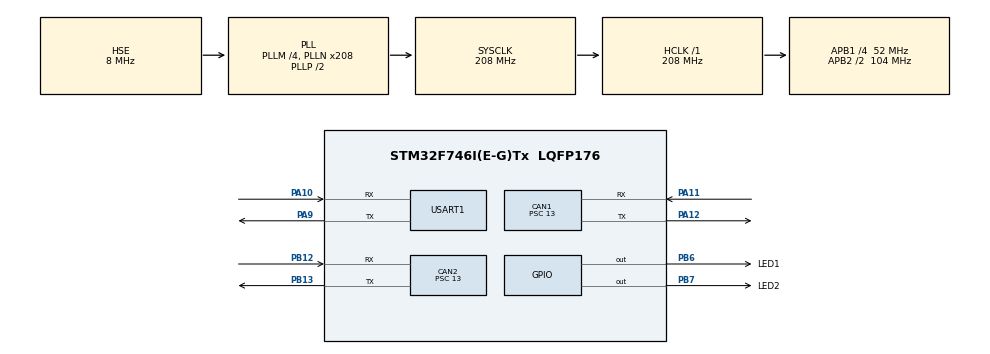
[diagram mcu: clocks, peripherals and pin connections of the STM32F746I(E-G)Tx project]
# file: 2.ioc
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CAN1.BS1=CAN_BS1_9TQ
CAN1.BS2=CAN_BS2_6TQ
CAN1.CalculateTimeBit=4000
CAN1.CalculateTimeQuantum=250.0
CAN1.Prescaler=13
CAN1.TXFP=ENABLE
CAN2.BS1=CAN_BS1_9TQ
CAN2.BS2=CAN_BS2_6TQ
CAN2.CalculateTimeBit=4000
CAN2.CalculateTimeQuantum=250.0
CAN2.Prescaler=13
CAN2.TXFP=ENABLE
FREERTOS.Tasks01=worker1,1,128,work1Task,Default;worker2,0,128,worker2Task,Default
Mcu.Family=STM32F7
Mcu.Name=STM32F746I(E-G)Tx
Mcu.Package=LQFP176
NVIC.CAN1_RX0_IRQn=true\:14\:0\:true
NVIC.PriorityGroup=NVIC_PRIORITYGROUP_4
NVIC.TIM2_IRQn=true\:0\:0\:false
NVIC.TimeBase=TIM2_IRQn
NVIC.TimeBaseIP=TIM2
PA10.Mode=Asynchronous
PA10.Signal=USART1_RX
PA11.Mode=Master
PA11.Signal=CAN1_RX
PA12.Mode=Master
PA12.Signal=CAN1_TX
PA9.Mode=Asynchronous
PA9.Signal=USART1_TX
PB12.Mode=Slave
PB12.Signal=CAN2_RX
PB13.Mode=Slave
PB13.Signal=CAN2_TX
PB6.GPIO_Label=LED1
PB6.Signal=GPIO_Output
PB7.GPIO_Label=LED2
PB7.Signal=GPIO_Output
PH0/OSC_IN.Mode=HSE-External-Oscillator
PH0/OSC_IN.Signal=RCC_OSC_IN
PH1/OSC_OUT.Mode=HSE-External-Oscillator
PH1/OSC_OUT.Signal=RCC_OSC_OUT
ProjectManager.HeapSize=0x400
ProjectManager.StackSize=0x200
ProjectManager.TargetToolchain=TrueSTUDIO
RCC.AHBFreq_Value=208000000
RCC.APB1CLKDivider=RCC_HCLK_DIV4
RCC.APB1Freq_Value=52000000
RCC.APB1TimFreq_Value=104000000
RCC.APB2CLKDivider=RCC_HCLK_DIV2
RCC.APB2Freq_Value=104000000
RCC.APB2TimFreq_Value=208000000
RCC.CortexFreq_Value=208000000
RCC.HCLKFreq_Value=208000000
RCC.HSE_VALUE=8000000
RCC.HSI_VALUE=16000000
RCC.LSE_VALUE=32768
RCC.PLLM=4
RCC.PLLN=208
RCC.PLLSourceVirtual=RCC_PLLSOURCE_HSE
RCC.SYSCLKFreq_VALUE=208000000
RCC.SYSCLKSource=RCC_SYSCLKSOURCE_PLLCLK
RCC.USBFreq_Value=208000000
RCC.VCOOutputFreq_Value=416000000
USART1.WordLength=UART_WORDLENGTH_8B
VP_FREERTOS_VS_ENABLE.Mode=Enabled
VP_SYS_VS_tim2.Mode=TIM2
board=2

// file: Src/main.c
/**
  ******************************************************************************
  * File Name          : main.c
  * Description        : Main program body
  ******************************************************************************
  *
  * COPYRIGHT(c) 2016 STMicroelectronics
  *
  * Redistribution and use in source and binary forms, with or without modification,
  * are permitted provided that the following conditions are met:
  *   1. Redistributions of source code must retain the above copyright notice,
  *      this list of conditions and the following disclaimer.
  *   2. Redistributions in binary form must reproduce the above copyright notice,
  *      this list of conditions and the following disclaimer in the documentation
  *      and/or other materials provided with the distribution.
  *   3. Neither the name of STMicroelectronics nor the names of its contributors
  *      may be used to endorse or promote products derived from this software
  *      without specific prior written permission.
  *
  * THIS SOFTWARE IS PROVIDED BY THE COPYRIGHT HOLDERS AND CONTRIBUTORS "AS IS"
  * AND ANY EXPRESS OR IMPLIED WARRANTIES, INCLUDING, BUT NOT LIMITED TO, THE
  * IMPLIED WARRANTIES OF MERCHANTABILITY AND FITNESS FOR A PARTICULAR PURPOSE ARE
  * DISCLAIMED. IN NO EVENT SHALL THE COPYRIGHT HOLDER OR CONTRIBUTORS BE LIABLE
  * FOR ANY DIRECT, INDIRECT, INCIDENTAL, SPECIAL, EXEMPLARY, OR CONSEQUENTIAL
  * DAMAGES (INCLUDING, BUT NOT LIMITED TO, PROCUREMENT OF SUBSTITUTE GOODS OR
  * SERVICES; LOSS OF USE, DATA, OR PROFITS; OR BUSINESS INTERRUPTION) HOWEVER
  * CAUSED AND ON ANY THEORY OF LIABILITY, WHETHER IN CONTRACT, STRICT LIABILITY,
  * OR TORT (INCLUDING NEGLIGENCE OR OTHERWISE) ARISING IN ANY WAY OUT OF THE USE
  * OF THIS SOFTWARE, EVEN IF ADVISED OF THE POSSIBILITY OF SUCH DAMAGE.
  *
  ******************************************************************************
  */
#include "stm32f7xx_hal.h"
#include "cmsis_os.h"
#include "can.h"
#include "usart.h"
#include "gpio.h"

/* USER CODE BEGIN PV */
/* Private variables ---------------------------------------------------------*/

/* USER CODE END PV */

void SystemClock_Config(void);
void MX_FREERTOS_Init(void);

/* USER CODE BEGIN PFP */
/* Private function prototypes -----------------------------------------------*/

/* USER CODE END PFP */

int main(void)
{

  /* MCU Configuration----------------------------------------------------------*/

  /* Reset of all peripherals, Initializes the Flash interface and the Systick. */
  HAL_Init();

  /* Configure the system clock */
  SystemClock_Config();

  /* Initialize all configured peripherals */
  MX_GPIO_Init();
  MX_CAN1_Init();
  MX_CAN2_Init();
  MX_CAN_Conf();
  MX_USART1_UART_Init();

  /* Call init function for freertos objects (in freertos.c) */
  MX_FREERTOS_Init();

  /* Start scheduler */
  osKernelStart();

  /* We should never get here as control is now taken by the scheduler */

  /* Infinite loop */
  while (1)
  {

  }

}

/** System Clock Configuration
*/
void SystemClock_Config(void)
{

  RCC_OscInitTypeDef RCC_OscInitStruct;
  RCC_ClkInitTypeDef RCC_ClkInitStruct;
  RCC_PeriphCLKInitTypeDef PeriphClkInitStruct;

  __PWR_CLK_ENABLE();

  __HAL_PWR_VOLTAGESCALING_CONFIG(PWR_REGULATOR_VOLTAGE_SCALE1);

  RCC_OscInitStruct.OscillatorType = RCC_OSCILLATORTYPE_HSE;
  RCC_OscInitStruct.HSEState = RCC_HSE_ON;
  RCC_OscInitStruct.PLL.PLLState = RCC_PLL_ON;
  RCC_OscInitStruct.PLL.PLLSource = RCC_PLLSOURCE_HSE;
  RCC_OscInitStruct.PLL.PLLM = 4;
  RCC_OscInitStruct.PLL.PLLN = 208;
  RCC_OscInitStruct.PLL.PLLP = RCC_PLLP_DIV2;
  RCC_OscInitStruct.PLL.PLLQ = 2;
  HAL_RCC_OscConfig(&RCC_OscInitStruct);

  HAL_PWREx_ActivateOverDrive();

  RCC_ClkInitStruct.ClockType = RCC_CLOCKTYPE_HCLK|RCC_CLOCKTYPE_SYSCLK
                              |RCC_CLOCKTYPE_PCLK1|RCC_CLOCKTYPE_PCLK2;
  RCC_ClkInitStruct.SYSCLKSource = RCC_SYSCLKSOURCE_PLLCLK;
  RCC_ClkInitStruct.AHBCLKDivider = RCC_SYSCLK_DIV1;
  RCC_ClkInitStruct.APB1CLKDivider = RCC_HCLK_DIV4;
  RCC_ClkInitStruct.APB2CLKDivider = RCC_HCLK_DIV2;
  HAL_RCC_ClockConfig(&RCC_ClkInitStruct, FLASH_LATENCY_6);

  PeriphClkInitStruct.PeriphClockSelection = RCC_PERIPHCLK_USART1;
  PeriphClkInitStruct.Usart1ClockSelection = RCC_USART1CLKSOURCE_PCLK2;
  HAL_RCCEx_PeriphCLKConfig(&PeriphClkInitStruct);

  HAL_SYSTICK_Config(HAL_RCC_GetHCLKFreq()/1000);

  HAL_SYSTICK_CLKSourceConfig(SYSTICK_CLKSOURCE_HCLK);

  /* SysTick_IRQn interrupt configuration */
  HAL_NVIC_SetPriority(SysTick_IRQn, 15, 0);
}

/************************ (C) COPYRIGHT STMicroelectronics *****END OF FILE****/

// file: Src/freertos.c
/**
  ******************************************************************************
  * File Name          : freertos.c
  * Description        : Code for freertos applications
  ******************************************************************************
  *
  * COPYRIGHT(c) 2016 STMicroelectronics
  *
  * Redistribution and use in source and binary forms, with or without modification,
  * are permitted provided that the following conditions are met:
  *   1. Redistributions of source code must retain the above copyright notice,
  *      this list of conditions and the following disclaimer.
  *   2. Redistributions in binary form must reproduce the above copyright notice,
  *      this list of conditions and the following disclaimer in the documentation
  *      and/or other materials provided with the distribution.
  *   3. Neither the name of STMicroelectronics nor the names of its contributors
  *      may be used to endorse or promote products derived from this software
  *      without specific prior written permission.
  *
  * THIS SOFTWARE IS PROVIDED BY THE COPYRIGHT HOLDERS AND CONTRIBUTORS "AS IS"
  * AND ANY EXPRESS OR IMPLIED WARRANTIES, INCLUDING, BUT NOT LIMITED TO, THE
  * IMPLIED WARRANTIES OF MERCHANTABILITY AND FITNESS FOR A PARTICULAR PURPOSE ARE
  * DISCLAIMED. IN NO EVENT SHALL THE COPYRIGHT HOLDER OR CONTRIBUTORS BE LIABLE
  * FOR ANY DIRECT, INDIRECT, INCIDENTAL, SPECIAL, EXEMPLARY, OR CONSEQUENTIAL
  * DAMAGES (INCLUDING, BUT NOT LIMITED TO, PROCUREMENT OF SUBSTITUTE GOODS OR
  * SERVICES; LOSS OF USE, DATA, OR PROFITS; OR BUSINESS INTERRUPTION) HOWEVER
  * CAUSED AND ON ANY THEORY OF LIABILITY, WHETHER IN CONTRACT, STRICT LIABILITY,
  * OR TORT (INCLUDING NEGLIGENCE OR OTHERWISE) ARISING IN ANY WAY OUT OF THE USE
  * OF THIS SOFTWARE, EVEN IF ADVISED OF THE POSSIBILITY OF SUCH DAMAGE.
  *
  ******************************************************************************
  */

#include "FreeRTOS.h"
#include "task.h"
#include "cmsis_os.h"

/* USER CODE BEGIN Includes */

#include "can.h"
#include "usart.h"

/* USER CODE END Includes */

osThreadId worker1Handle;
osThreadId worker2Handle;

void work1Task(void const * argument);
void worker2Task(void const * argument);

void MX_FREERTOS_Init(void); /* (MISRA C 2004 rule 8.1) */

/* Hook prototypes */

/* Init FreeRTOS */

void MX_FREERTOS_Init(void) {

  /* Create the thread(s) */
  /* definition and creation of worker1 */
  osThreadDef(worker1, work1Task, osPriorityAboveNormal, 0, 128);
  worker1Handle = osThreadCreate(osThread(worker1), NULL);

  /* definition and creation of worker2 */
  osThreadDef(worker2, worker2Task, osPriorityNormal, 0, 128);
  worker2Handle = osThreadCreate(osThread(worker2), NULL);

}

/* work1Task function */
void work1Task(void const * argument)
{

  /* USER CODE BEGIN work1Task */
  /* Infinite loop */
  for(;;)
  {
	  osSignalWait(0x0001, osWaitForever);
	  info_print(&(hcan1.pRxMsg->Data[0]));
	  //info_print("ss");
  }
  /* USER CODE END work1Task */
}

/* worker2Task function */
void worker2Task(void const * argument)
{
  /* USER CODE BEGIN worker2Task */
  /* Infinite loop */
  for(;;)
  {
	  osDelay(100);
	  hcan2.pTxMsg->StdId = 0x123;
	  hcan2.pTxMsg->RTR = CAN_RTR_DATA;
	  hcan2.pTxMsg->IDE = CAN_ID_STD;
	  hcan2.pTxMsg->DLC = 8;
	  hcan2.pTxMsg->Data[0] = 'C';
	  hcan2.pTxMsg->Data[1] = 'A';
	  hcan2.pTxMsg->Data[2] = 'N';
	  hcan2.pTxMsg->Data[3] = ' ';
	  hcan2.pTxMsg->Data[4] = 'T';
	  hcan2.pTxMsg->Data[5] = 'e';
	  hcan2.pTxMsg->Data[6] = 's';
	  hcan2.pTxMsg->Data[7] = 't';

	  HAL_CAN_Transmit(&hcan2, 10);
	  osDelay(10000);
  }
  /* USER CODE END worker2Task */
}

/************************ (C) COPYRIGHT STMicroelectronics *****END OF FILE****/
